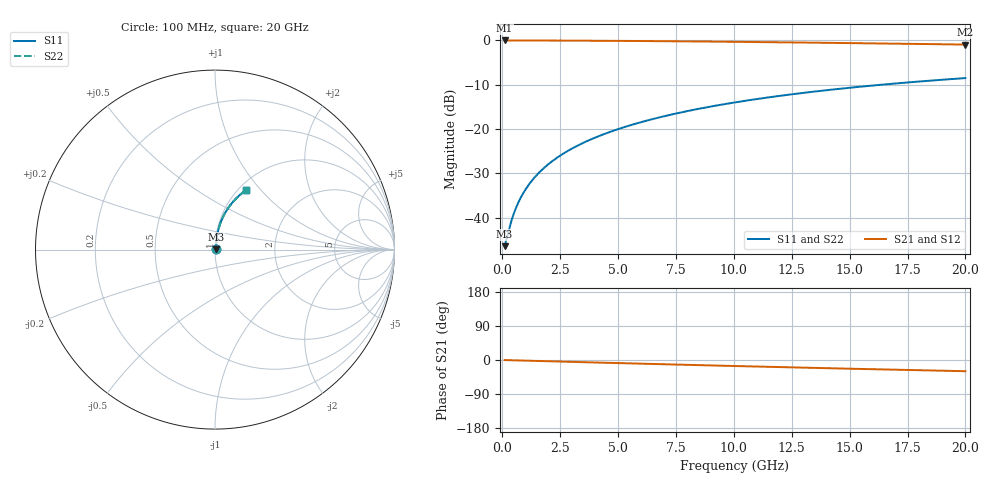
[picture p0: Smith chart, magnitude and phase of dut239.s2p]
! Touchstone file exported from HFSS 2024.1.0
!  File:  C:/UserFiles/LocalFiles/RDL_TSV_Batchsim/temp_RDL_top_239_1778688456.aedt
!  Generated:  12:09:34 AM May 14, 2026
!  Design:  RDL_top
!  Project:  temp_RDL_top_239_1778688456
!  Setup:  Setup1
!  Solution:  Sweep
! Variables:
!  dtsv = 10.80580581um
!  hbump = 3um
!  htsv = 65.32um
!  ldown = 100um
!  lrdl = 321.8um
!  p = 40
!  p1 = 52.9um
!  rhole = 1um
!  t = 450um
!  tdown = 3.915915916um
!  trdl = 2.26um
!  wdown = 15.38538539um
!  wrdl = 12.28um
# GHz S MA R 50.000000
! Terminal data exported
! Port[1] = Box2_T1
! Port[2] = Box2_T2
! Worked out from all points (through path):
!   200 points, 100 MHz to 20 GHz, reference 50 ohm
!   highest |S21| = -0.04 dB at 100 MHz (marker M1); lowest = -1.0 dB at 20 GHz (marker M2)
!   group delay of S21, straight-line fit = 4.11 ps
!   lowest |S11| = -46.4 dB at 100 MHz (marker M3), VSWR 1.01, Z = 50.4 + j0.208 ohm
!   |S11| at or under -10 dB: start of sweep to 16.42 GHz
!   |S22| runs from -46.4 to -8.5 dB; largest |S21 - S12| = 3.4e-15
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0.1  0.004765 25.6  0.9957 -0.2  0.9957 -0.2  0.004765 25.6
! Gamma 0 0 0 0
! Port Impedance 50 0 50 0
0.3  0.00756 54.3  0.9956 -0.5  0.9956 -0.5  0.007562 54.3
0.4  0.009312 61.2  0.9955 -0.7  0.9955 -0.7  0.009317 61.2
0.5  0.01115 65.8  0.9954 -0.8  0.9954 -0.8  0.01115 65.8
0.6  0.01302 69.0  0.9953 -1.0  0.9953 -1.0  0.01303 69.0
0.7  0.01493 71.4  0.9952 -1.2  0.9952 -1.2  0.01493 71.3
0.9  0.01877 74.6  0.995 -1.5  0.995 -1.5  0.01878 74.6
1.2  0.0246 77.4  0.9946 -2.0  0.9946 -2.0  0.0246 77.4
1.4  0.0285 78.6  0.9943 -2.3  0.9943 -2.3  0.0285 78.6
1.7  0.03437 79.8  0.9938 -2.8  0.9938 -2.8  0.03436 79.8
2.2  0.04417 80.9  0.993 -3.6  0.993 -3.6  0.04416 80.9
2.8  0.05596 81.5  0.9917 -4.6  0.9917 -4.6  0.05596 81.5
3.5  0.06978 81.6  0.99 -5.8  0.99 -5.8  0.06977 81.6
4.2  0.08364 81.4  0.9879 -6.9  0.9879 -6.9  0.08364 81.4
5  0.09954 81.0  0.9852 -8.2  0.9852 -8.2  0.09954 80.9
5.9  0.1175 80.2  0.9818 -9.6  0.9818 -9.6  0.1174 80.2
6.8  0.1354 79.3  0.9779 -11.0  0.9779 -11.0  0.1354 79.3
8.3  0.1651 77.6  0.9707 -13.3  0.9707 -13.3  0.1651 77.6
10.1  0.2003 75.4  0.961 -16.0  0.961 -16.0  0.2003 75.3
13.4  0.2626 71.0  0.9409 -20.7  0.9409 -20.7  0.2625 71.0
16.7  0.321 66.6  0.9184 -25.3  0.9184 -25.3  0.3209 66.5
20  0.3748 62.3  0.8945 -29.6  0.8945 -29.6  0.3746 62.3
